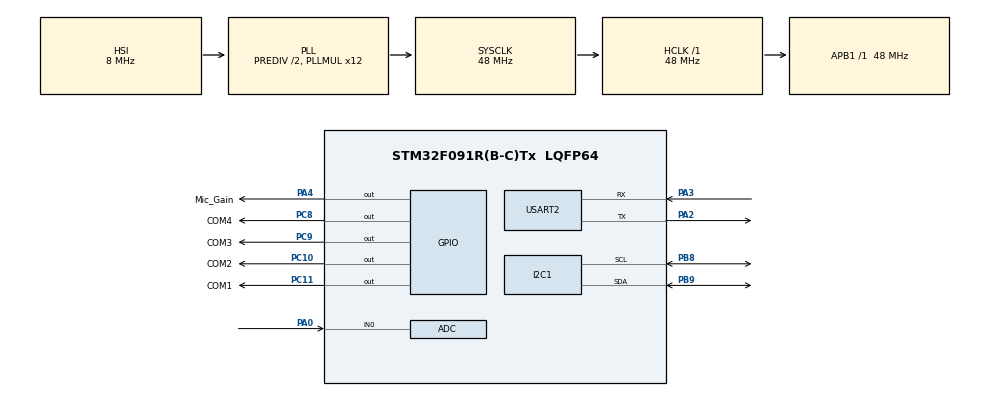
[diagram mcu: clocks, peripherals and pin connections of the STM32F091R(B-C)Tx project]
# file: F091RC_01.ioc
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ADC.ContinuousConvMode=ENABLE
I2C1.Timing=0x00201D2B
Mcu.Family=STM32F0
Mcu.Name=STM32F091R(B-C)Tx
Mcu.Package=LQFP64
NVIC.TIM6_DAC_IRQn=true\:0\:0\:false\:false\:true\:true\:true\:true
PA0.Mode=IN0
PA0.Signal=ADC_IN0
PA1.Signal=ADC_IN1
PA13.GPIO_Label=TMS
PA13.Mode=Serial_Wire
PA13.Signal=SYS_SWDIO
PA14.GPIO_Label=TCK
PA14.Mode=Serial_Wire
PA14.Signal=SYS_SWCLK
PA2.Mode=Asynchronous
PA2.Signal=USART2_TX
PA3.Mode=Asynchronous
PA3.Signal=USART2_RX
PA4.GPIO_Label=Mic_Gain
PA4.Signal=GPIO_Output
PB8.Mode=I2C
PB8.Signal=I2C1_SCL
PB9.Mode=I2C
PB9.Signal=I2C1_SDA
PC10.GPIO_Label=COM2
PC10.Signal=GPIO_Output
PC11.GPIO_Label=COM1
PC11.Signal=GPIO_Output
PC14OSC32_IN.Mode=LSE-External-Oscillator
PC14OSC32_IN.Signal=RCC_OSC32_IN
PC15OSC32_OUT.Mode=LSE-External-Oscillator
PC15OSC32_OUT.Signal=RCC_OSC32_OUT
PC8.GPIO_Label=COM4
PC8.Signal=GPIO_Output
PC9.GPIO_Label=COM3
PC9.Signal=GPIO_Output
PF0-OSC_IN.GPIO_Label=MCO
PF0-OSC_IN.Mode=HSE-External-Clock-Source
PF0-OSC_IN.Signal=RCC_OSC_IN
ProjectManager.HeapSize=0x200
ProjectManager.StackSize=0x400
ProjectManager.TargetToolchain=MDK-ARM V5.32
RCC.AHBFreq_Value=48000000
RCC.APB1Freq_Value=48000000
RCC.APB1TimFreq_Value=48000000
RCC.FLatency-AdvancedSettings=FLASH_LATENCY_1
RCC.HCLKFreq_Value=48000000
RCC.PLLDivider=RCC_PREDIV_DIV2
RCC.PLLMUL=RCC_PLL_MUL12
RCC.PREFETCH_ENABLE-AdvancedSettings=1
RCC.SYSCLKFreq_VALUE=48000000
RCC.SYSCLKSource=RCC_SYSCLKSOURCE_PLLCLK
TIM2.Prescaler=47
TIM6.Period=24
TIM6.Prescaler=47
USART2.VirtualMode-Asynchronous=VM_ASYNC
VP_TIM2_VS_ClockSourceINT.Mode=Internal
VP_TIM6_VS_ClockSourceINT.Mode=Enable_Timer
board=NUCLEO-F091RC

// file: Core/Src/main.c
/* USER CODE BEGIN Header */
/**
  ******************************************************************************
  * @file           : main.c
  * @brief          : Main program body
  ******************************************************************************
  * @attention
  *
  * Copyright (c) 2026 STMicroelectronics.
  * All rights reserved.
  *
  * This software is licensed under terms that can be found in the LICENSE file
  * in the root directory of this software component.
  * If no LICENSE file comes with this software, it is provided AS-IS.
  *
  ******************************************************************************
  */
/* USER CODE END Header */
#include "main.h"

/* USER CODE BEGIN Includes */
#include <stdio.h>   // Reikalinga sprintf funkcijai
#include <string.h>  // Reikalinga tekstinems operacijoms
#include <math.h>
#include "I2C_LCD.h"
#include <arm_math.h>
#include <stdlib.h>
/* USER CODE END Includes */

/* USER CODE BEGIN PTD */
typedef struct {
    uint32_t id;
    uint32_t pin_code;
    uint8_t mic_gain_mode;   // 0: 40dB, 1: 50dB, 2: 60dB
} DeviceConfig;
/* USER CODE END PTD */

/* USER CODE BEGIN PD */
#define MyI2C_LCD I2C_LCD_1
/* USER CODE END PD */

ADC_HandleTypeDef hadc;

I2C_HandleTypeDef hi2c1;

TIM_HandleTypeDef htim2;
TIM_HandleTypeDef htim6;

UART_HandleTypeDef huart2;

/* USER CODE BEGIN PV */
volatile uint8_t freq_index = 0;
char msg[64];

volatile uint64_t rms_sum = 0;
volatile uint32_t rms_count = 0;

float last_freq = 0;
float last_rms = 0;

const int16_t MID_POINT = 2048;
const int16_t THRESHOLD_Q15 = 2500; // 2500/(2^4)=156 in ADC scale

// Filter parameters
#define NUM_STAGES 1
arm_biquad_casd_df1_inst_q15 S_q15;
q15_t biquad_state_q15[4 * NUM_STAGES];
q15_t filtered_val_q15;

// Coefficients in Q15 format [b0, 0, b1, b2, a1, a2]
q15_t biquad_coeffs_q15[6] = {
	8063, 0, 0, -8063, 16127, -257
};

// TIM2 parameters for measuring frequency
volatile uint32_t last_capture_tick = 0;
volatile uint32_t period_in_ticks = 0;
volatile uint8_t new_period_flag = 0;

// Configuration
DeviceConfig currentConfig;
uint8_t config_mode = 0;

/* USER CODE END PV */

void SystemClock_Config(void);
static void MX_GPIO_Init(void);
static void MX_TIM6_Init(void);
static void MX_ADC_Init(void);
static void MX_USART2_UART_Init(void);
static void MX_I2C1_Init(void);
static void MX_TIM2_Init(void);

/* USER CODE BEGIN 0 */
#define FLASH_CONFIG_ADDR 0x0800F800

void SaveConfig(void) {
    FLASH_EraseInitTypeDef eraseInit;
    uint32_t pageError;

    HAL_FLASH_Unlock();

    eraseInit.TypeErase = FLASH_TYPEERASE_PAGES;
    eraseInit.PageAddress = FLASH_CONFIG_ADDR;
    eraseInit.NbPages = 1;

    if (HAL_FLASHEx_Erase(&eraseInit, &pageError) == HAL_OK) {
        uint32_t *dataPtr = (uint32_t*)&currentConfig;
        for (uint32_t i = 0; i < (sizeof(DeviceConfig) / 4); i++) {
					HAL_FLASH_Program(FLASH_TYPEPROGRAM_WORD, FLASH_CONFIG_ADDR + (i * 4), dataPtr[i]);
				}
    }
    HAL_FLASH_Lock();
}
void LoadConfig(void) {
    memcpy(&currentConfig, (uint32_t*)FLASH_CONFIG_ADDR, sizeof(DeviceConfig));

    if (currentConfig.id != 0xABABABAB) {
        currentConfig.id = 0xABABABAB;
        currentConfig.pin_code = 0000;
        currentConfig.mic_gain_mode = 2;
        SaveConfig();
    }
}

uint32_t UART_Read(void) {
    char buffer[16];
    uint8_t i = 0;
    uint8_t ch;

    while (1) {
        if (HAL_UART_Receive(&huart2, &ch, 1, HAL_MAX_DELAY) == HAL_OK) {

            if (ch == '\r' || ch == '\n') {
                if (i == 0) continue;
                buffer[i] = '\0';
                printf("\r\n");
                break;
            }

            else if (ch == '\b' || ch == 127) {
                if (i > 0) {
                    i--;
                    printf("\b \b");
                }
            }
            else if (ch >= '0' && ch <= '9' && i < 15) buffer[i++] = ch;
        }
    }
    return atol(buffer);
}

void Set_Mic_Gain(uint8_t mode) {
    GPIO_InitTypeDef GPIO_InitStruct = {0};
    GPIO_InitStruct.Pin = Mic_Gain_Pin;

    if (mode == 0) { // 40dB - Vdd
        GPIO_InitStruct.Mode = GPIO_MODE_OUTPUT_PP;
        HAL_GPIO_Init(Mic_Gain_GPIO_Port, &GPIO_InitStruct);
        HAL_GPIO_WritePin(Mic_Gain_GPIO_Port, Mic_Gain_Pin, GPIO_PIN_SET);
    }
    else if (mode == 1) { // 50dB - GND
        GPIO_InitStruct.Mode = GPIO_MODE_OUTPUT_PP;
        HAL_GPIO_Init(Mic_Gain_GPIO_Port, &GPIO_InitStruct);
        HAL_GPIO_WritePin(Mic_Gain_GPIO_Port, Mic_Gain_Pin, GPIO_PIN_RESET);
    }
    else { // 60dB - HiZ
        GPIO_InitStruct.Mode = GPIO_MODE_INPUT;
        GPIO_InitStruct.Pull = GPIO_NOPULL;
        HAL_GPIO_Init(Mic_Gain_GPIO_Port, &GPIO_InitStruct);
    }
}
/* USER CODE END 0 */

int main(void)
{

  /* MCU Configuration--------------------------------------------------------*/

  /* Reset of all peripherals, Initializes the Flash interface and the Systick. */
  HAL_Init();

  /* Configure the system clock */
  SystemClock_Config();

  /* Initialize all configured peripherals */
  MX_GPIO_Init();
  MX_TIM6_Init();
  MX_ADC_Init();
  MX_USART2_UART_Init();
  MX_I2C1_Init();
  MX_TIM2_Init();
  /* USER CODE BEGIN 2 */
	arm_biquad_cascade_df1_init_q15(&S_q15, NUM_STAGES, biquad_coeffs_q15, biquad_state_q15, 0);

  I2C_LCD_Init(MyI2C_LCD);
  I2C_LCD_Clear(MyI2C_LCD);

	HAL_TIM_Base_Start_IT(&htim6);
	HAL_TIM_Base_Start(&htim2);
  HAL_ADC_Start(&hadc);

	uint32_t last_tick_uart = HAL_GetTick();
  uint32_t last_tick_lcd = HAL_GetTick();

  /* USER CODE END 2 */

  /* Infinite loop */
  /* USER CODE BEGIN WHILE */
	LoadConfig();
	Set_Mic_Gain(currentConfig.mic_gain_mode);

  while (1)
  {
    uint8_t rec_data;
    if (HAL_UART_Receive(&huart2, &rec_data, 1, 10) == HAL_OK) {

        if (config_mode == 0 && rec_data == 'a') {
            printf("\r\nIveskite PIN: ");
            int16_t entered_pin = 0;
						entered_pin = UART_Read();

            if (entered_pin == currentConfig.pin_code) {
                config_mode = 1;

								I2C_LCD_Clear(MyI2C_LCD);
                I2C_LCD_SetCursor(MyI2C_LCD, 0, 0);
                I2C_LCD_WriteString(MyI2C_LCD, "Vyksta");
                I2C_LCD_SetCursor(MyI2C_LCD, 0, 1);
                I2C_LCD_WriteString(MyI2C_LCD, "Konfiguravimas");

								printf("\r\nKonfiguravimo meniu:\r\n");
                printf("1. Keisti stiprinima (Dabar: %d)\r\n", currentConfig.mic_gain_mode);
                printf("2. Keisti PIN\r\n");
                printf("s. Issaugoti ir Iseiti\r\n");
            } else {
                printf("\r\nNeteisingas PIN\r\n");
            }
        }

        else if (config_mode == 1) {
            if (rec_data == '1') {
                printf("\r\nPasirinkite Stiprinima (0:40dB, 1:50dB, 2:60dB): ");
                int16_t gain;
								gain = UART_Read();
                currentConfig.mic_gain_mode = (uint8_t)gain;
                Set_Mic_Gain(currentConfig.mic_gain_mode);
                printf("Atnaujinta!\r\n");
            }
            else if (rec_data == '2') {
                printf("\r\nIveskite nauja PIN: ");
								currentConfig.pin_code = UART_Read();
                printf("PIN pakeistas\r\n");
            }
            else if (rec_data == 's') {
                SaveConfig();
                config_mode = 0;
								I2C_LCD_Clear(MyI2C_LCD);
                printf("\r\nIssaugota.\r\n");
            }
        }
    }
    uint32_t current_tick = HAL_GetTick();

    // Display in terminal evrery 0.5s
    if (config_mode == 0 && current_tick - last_tick_uart >= 500)
    {
			if (rms_count > 0)
        {

            // RMS voltage calculation
            double mean_sq = (double)rms_sum / (double)rms_count;
            last_rms = (sqrt(mean_sq) / 32768.0f) * 3.3f;

						// Frequency calculation
						if (new_period_flag)
							{
									last_freq = 1000000.0f / (float)period_in_ticks;
									new_period_flag = 0;
							}
						else
							{
									// If no frequency was recorded
									last_freq = 0;
							}

            sprintf(msg, "Urms: %.3f V ; F: %.1f Hz\r\n", last_rms, last_freq);
            HAL_UART_Transmit(&huart2, (uint8_t*)msg, strlen(msg), 10);
        }

        rms_count = 0;
        rms_sum = 0;
        last_tick_uart = current_tick;
    }

    // Display in LCD every 2s
    if (config_mode == 0 && current_tick - last_tick_lcd >= 2000)
    {
        char line1[18], line2[18];

        sprintf(line1, "Urms: %.3f V    ", last_rms);
				sprintf(line2, "F: %.1f Hz   ", last_freq);
        I2C_LCD_SetCursor(MyI2C_LCD, 0, 0);
        I2C_LCD_WriteString(MyI2C_LCD, line1);
        I2C_LCD_SetCursor(MyI2C_LCD, 0, 1);
        I2C_LCD_WriteString(MyI2C_LCD, line2);

        last_tick_lcd = current_tick;
    }
    /* USER CODE END WHILE */

	}
}

void SystemClock_Config(void)
{
  RCC_OscInitTypeDef RCC_OscInitStruct = {0};
  RCC_ClkInitTypeDef RCC_ClkInitStruct = {0};
  RCC_PeriphCLKInitTypeDef PeriphClkInit = {0};

  /** Initializes the RCC Oscillators according to the specified parameters
  * in the RCC_OscInitTypeDef structure.
  */
  RCC_OscInitStruct.OscillatorType = RCC_OSCILLATORTYPE_HSI|RCC_OSCILLATORTYPE_HSI14;
  RCC_OscInitStruct.HSIState = RCC_HSI_ON;
  RCC_OscInitStruct.HSI14State = RCC_HSI14_ON;
  RCC_OscInitStruct.HSICalibrationValue = RCC_HSICALIBRATION_DEFAULT;
  RCC_OscInitStruct.HSI14CalibrationValue = 16;
  RCC_OscInitStruct.PLL.PLLState = RCC_PLL_ON;
  RCC_OscInitStruct.PLL.PLLSource = RCC_PLLSOURCE_HSI;
  RCC_OscInitStruct.PLL.PLLMUL = RCC_PLL_MUL12;
  RCC_OscInitStruct.PLL.PREDIV = RCC_PREDIV_DIV2;
  if (HAL_RCC_OscConfig(&RCC_OscInitStruct) != HAL_OK)
  {
    Error_Handler();
  }

  /** Initializes the CPU, AHB and APB buses clocks
  */
  RCC_ClkInitStruct.ClockType = RCC_CLOCKTYPE_HCLK|RCC_CLOCKTYPE_SYSCLK
                              |RCC_CLOCKTYPE_PCLK1;
  RCC_ClkInitStruct.SYSCLKSource = RCC_SYSCLKSOURCE_PLLCLK;
  RCC_ClkInitStruct.AHBCLKDivider = RCC_SYSCLK_DIV1;
  RCC_ClkInitStruct.APB1CLKDivider = RCC_HCLK_DIV1;

  if (HAL_RCC_ClockConfig(&RCC_ClkInitStruct, FLASH_LATENCY_1) != HAL_OK)
  {
    Error_Handler();
  }
  PeriphClkInit.PeriphClockSelection = RCC_PERIPHCLK_USART2|RCC_PERIPHCLK_I2C1;
  PeriphClkInit.Usart2ClockSelection = RCC_USART2CLKSOURCE_PCLK1;
  PeriphClkInit.I2c1ClockSelection = RCC_I2C1CLKSOURCE_HSI;
  if (HAL_RCCEx_PeriphCLKConfig(&PeriphClkInit) != HAL_OK)
  {
    Error_Handler();
  }
}

static void MX_ADC_Init(void)
{

  ADC_ChannelConfTypeDef sConfig = {0};

  /** Configure the global features of the ADC (Clock, Resolution, Data Alignment and number of conversion)
  */
  hadc.Instance = ADC1;
  hadc.Init.ClockPrescaler = ADC_CLOCK_ASYNC_DIV1;
  hadc.Init.Resolution = ADC_RESOLUTION_12B;
  hadc.Init.DataAlign = ADC_DATAALIGN_RIGHT;
  hadc.Init.ScanConvMode = ADC_SCAN_DIRECTION_FORWARD;
  hadc.Init.EOCSelection = ADC_EOC_SINGLE_CONV;
  hadc.Init.LowPowerAutoWait = DISABLE;
  hadc.Init.LowPowerAutoPowerOff = DISABLE;
  hadc.Init.ContinuousConvMode = ENABLE;
  hadc.Init.DiscontinuousConvMode = DISABLE;
  hadc.Init.ExternalTrigConv = ADC_SOFTWARE_START;
  hadc.Init.ExternalTrigConvEdge = ADC_EXTERNALTRIGCONVEDGE_NONE;
  hadc.Init.DMAContinuousRequests = DISABLE;
  hadc.Init.Overrun = ADC_OVR_DATA_PRESERVED;
  if (HAL_ADC_Init(&hadc) != HAL_OK)
  {
    Error_Handler();
  }

  /** Configure for the selected ADC regular channel to be converted.
  */
  sConfig.Channel = ADC_CHANNEL_0;
  sConfig.Rank = ADC_RANK_CHANNEL_NUMBER;
  sConfig.SamplingTime = ADC_SAMPLETIME_1CYCLE_5;
  if (HAL_ADC_ConfigChannel(&hadc, &sConfig) != HAL_OK)
  {
    Error_Handler();
  }

}

static void MX_I2C1_Init(void)
{

  hi2c1.Instance = I2C1;
  hi2c1.Init.Timing = 0x00201D2B;
  hi2c1.Init.OwnAddress1 = 0;
  hi2c1.Init.AddressingMode = I2C_ADDRESSINGMODE_7BIT;
  hi2c1.Init.DualAddressMode = I2C_DUALADDRESS_DISABLE;
  hi2c1.Init.OwnAddress2 = 0;
  hi2c1.Init.OwnAddress2Masks = I2C_OA2_NOMASK;
  hi2c1.Init.GeneralCallMode = I2C_GENERALCALL_DISABLE;
  hi2c1.Init.NoStretchMode = I2C_NOSTRETCH_DISABLE;
  if (HAL_I2C_Init(&hi2c1) != HAL_OK)
  {
    Error_Handler();
  }

  /** Configure Analogue filter
  */
  if (HAL_I2CEx_ConfigAnalogFilter(&hi2c1, I2C_ANALOGFILTER_ENABLE) != HAL_OK)
  {
    Error_Handler();
  }

  /** Configure Digital filter
  */
  if (HAL_I2CEx_ConfigDigitalFilter(&hi2c1, 0) != HAL_OK)
  {
    Error_Handler();
  }

}

static void MX_TIM2_Init(void)
{

  TIM_ClockConfigTypeDef sClockSourceConfig = {0};
  TIM_MasterConfigTypeDef sMasterConfig = {0};

  htim2.Instance = TIM2;
  htim2.Init.Prescaler = 47;
  htim2.Init.CounterMode = TIM_COUNTERMODE_UP;
  htim2.Init.Period = 4294967295;
  htim2.Init.ClockDivision = TIM_CLOCKDIVISION_DIV1;
  htim2.Init.AutoReloadPreload = TIM_AUTORELOAD_PRELOAD_DISABLE;
  if (HAL_TIM_Base_Init(&htim2) != HAL_OK)
  {
    Error_Handler();
  }
  sClockSourceConfig.ClockSource = TIM_CLOCKSOURCE_INTERNAL;
  if (HAL_TIM_ConfigClockSource(&htim2, &sClockSourceConfig) != HAL_OK)
  {
    Error_Handler();
  }
  sMasterConfig.MasterOutputTrigger = TIM_TRGO_RESET;
  sMasterConfig.MasterSlaveMode = TIM_MASTERSLAVEMODE_DISABLE;
  if (HAL_TIMEx_MasterConfigSynchronization(&htim2, &sMasterConfig) != HAL_OK)
  {
    Error_Handler();
  }

}

static void MX_TIM6_Init(void)
{

  TIM_MasterConfigTypeDef sMasterConfig = {0};

  htim6.Instance = TIM6;
  htim6.Init.Prescaler = 47;
  htim6.Init.CounterMode = TIM_COUNTERMODE_UP;
  htim6.Init.Period = 49;
  htim6.Init.AutoReloadPreload = TIM_AUTORELOAD_PRELOAD_DISABLE;
  if (HAL_TIM_Base_Init(&htim6) != HAL_OK)
  {
    Error_Handler();
  }
  sMasterConfig.MasterOutputTrigger = TIM_TRGO_RESET;
  sMasterConfig.MasterSlaveMode = TIM_MASTERSLAVEMODE_DISABLE;
  if (HAL_TIMEx_MasterConfigSynchronization(&htim6, &sMasterConfig) != HAL_OK)
  {
    Error_Handler();
  }

}

static void MX_USART2_UART_Init(void)
{

  huart2.Instance = USART2;
  huart2.Init.BaudRate = 115200;
  huart2.Init.WordLength = UART_WORDLENGTH_8B;
  huart2.Init.StopBits = UART_STOPBITS_1;
  huart2.Init.Parity = UART_PARITY_NONE;
  huart2.Init.Mode = UART_MODE_TX_RX;
  huart2.Init.HwFlowCtl = UART_HWCONTROL_NONE;
  huart2.Init.OverSampling = UART_OVERSAMPLING_16;
  huart2.Init.OneBitSampling = UART_ONE_BIT_SAMPLE_DISABLE;
  huart2.AdvancedInit.AdvFeatureInit = UART_ADVFEATURE_NO_INIT;
  if (HAL_UART_Init(&huart2) != HAL_OK)
  {
    Error_Handler();
  }

}

static void MX_GPIO_Init(void)
{
  GPIO_InitTypeDef GPIO_InitStruct = {0};

  /* GPIO Ports Clock Enable */
  __HAL_RCC_GPIOC_CLK_ENABLE();
  __HAL_RCC_GPIOF_CLK_ENABLE();
  __HAL_RCC_GPIOA_CLK_ENABLE();
  __HAL_RCC_GPIOB_CLK_ENABLE();

  /*Configure GPIO pin Output Level */
  HAL_GPIO_WritePin(Mic_Gain_GPIO_Port, Mic_Gain_Pin, GPIO_PIN_RESET);

  /*Configure GPIO pin Output Level */
  HAL_GPIO_WritePin(GPIOC, COM4_Pin|COM3_Pin|COM2_Pin|COM1_Pin, GPIO_PIN_RESET);

  /*Configure GPIO pin : Mic_Gain_Pin */
  GPIO_InitStruct.Pin = Mic_Gain_Pin;
  GPIO_InitStruct.Mode = GPIO_MODE_OUTPUT_PP;
  GPIO_InitStruct.Pull = GPIO_NOPULL;
  GPIO_InitStruct.Speed = GPIO_SPEED_FREQ_LOW;
  HAL_GPIO_Init(Mic_Gain_GPIO_Port, &GPIO_InitStruct);

  /*Configure GPIO pins : COM4_Pin COM3_Pin COM2_Pin COM1_Pin */
  GPIO_InitStruct.Pin = COM4_Pin|COM3_Pin|COM2_Pin|COM1_Pin;
  GPIO_InitStruct.Mode = GPIO_MODE_OUTPUT_PP;
  GPIO_InitStruct.Pull = GPIO_NOPULL;
  GPIO_InitStruct.Speed = GPIO_SPEED_FREQ_LOW;
  HAL_GPIO_Init(GPIOC, &GPIO_InitStruct);

}

/* USER CODE BEGIN 4 */
	void HAL_TIM_PeriodElapsedCallback(TIM_HandleTypeDef *htim)
	{
		if (htim->Instance == TIM6)
    {
        uint16_t raw_adc = HAL_ADC_GetValue(&hadc);

        // Conversion for Q15 after removing DC bias
        q15_t input_q15 = (q15_t)((int16_t)raw_adc - 2048) << 4;

        // Filter
        arm_biquad_cascade_df1_q15(&S_q15, &input_q15, &filtered_val_q15, 1);

        // RMS voltage calculation
        rms_sum += (int64_t)filtered_val_q15 * filtered_val_q15;
        rms_count++;

			// Frequency measurement
				if (freq_index == 0 && filtered_val_q15 > THRESHOLD_Q15)
        {
            uint32_t current_tick = __HAL_TIM_GET_COUNTER(&htim2);

            if (last_capture_tick > 0) {
                period_in_ticks = current_tick - last_capture_tick;
                new_period_flag = 1;
            }

            last_capture_tick = current_tick;
            freq_index = 1;
        }
        else if (freq_index == 1 && filtered_val_q15 < -THRESHOLD_Q15)
        {
            freq_index = 0;
        }

        HAL_ADC_Start(&hadc);
    }

	}

	int fputc(int ch, FILE *f) {
		HAL_UART_Transmit(&huart2, (uint8_t *)&ch, 1, HAL_MAX_DELAY);
		return ch;
	}
/* USER CODE END 4 */

void Error_Handler(void)
{
  __disable_irq();
  while (1)
  {
  }
}
